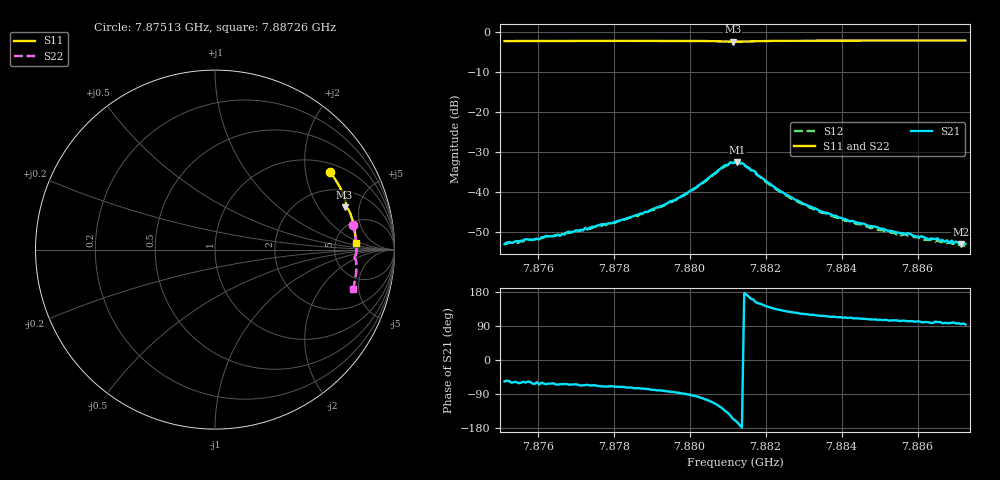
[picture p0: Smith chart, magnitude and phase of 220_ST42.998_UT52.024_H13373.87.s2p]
#  HZ  S  DB  R  50.00
! Rohde & Schwarz Vector Network Analyzer
! Rohde-Schwarz,ZNB20-2Port,1311601062101988,3.16
! Created: UTC 1/12/2023, 6:45:47 PM
! freq[Hz]  db:S11  ang:S11  db:S21  ang:S21  db:S12  ang:S12  db:S22  ang:S22
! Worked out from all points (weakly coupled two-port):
!   201 points, 7.87513 GHz to 7.88726 GHz, reference 50 ohm
!   highest |S21| = -32.45 dB at 7.88126 GHz (marker M1); lowest = -53.0 dB at 7.88714 GHz (marker M2)
!   lowest |S11| = -2.4 dB at 7.88113 GHz (marker M3), VSWR 7.31, Z = 159 + j177 ohm
!   |S11| at or under -10 dB: nowhere
!   |S22| runs from -2.3 to -1.9 dB; largest |S21 - S12| = 0.0019
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7.87513e9  -2.23 34.2  -52.96 -56.5  -52.83 -59.0  -2.16 10.3
7.877192e9  -2.20 28.5  -49.51 -66.8  -49.43 -70.4  -2.10 5.5
7.877252e9  -2.20 28.4  -48.87 -66.3  -49.09 -69.7  -2.10 5.4
7.877313e9  -2.19 28.2  -49.29 -65.5  -49.08 -70.3  -2.11 5.2
7.878041e9  -2.19 26.2  -47.39 -70.5  -47.63 -75.0  -2.09 3.5
7.879193e9  -2.18 23.0  -43.63 -79.9  -43.78 -83.8  -2.07 0.8
7.879861e9  -2.19 21.1  -40.52 -88.9  -40.75 -92.6  -2.07 -0.9
7.880892e9  -2.33 18.3  -33.49 -130.6  -33.74 -133.6  -2.22 -3.3
7.881134e9  -2.39 18.1  -32.65 -154.8  -32.67 -156.3  -2.27 -3.4
7.881195e9  -2.39 18.1  -32.55 -159.1  -32.61 -162.5  -2.28 -3.3
7.881256e9  -2.39 18.2  -32.45 -164.2  -32.63 -168.6  -2.28 -3.3
7.88168e9  -2.28 17.7  -34.54 159.5  -34.91 155.1  -2.18 -3.4
7.882469e9  -2.16 15.5  -40.11 129.7  -40.43 126.2  -2.04 -5.3
7.883257e9  -2.13 13.2  -43.91 119.5  -44.14 115.7  -2.00 -7.2
7.884106e9  -2.11 10.9  -46.71 112.1  -47.20 107.6  -1.98 -9.2
7.885259e9  -2.10 7.9  -49.62 103.5  -49.89 99.7  -1.96 -11.7
7.88629e9  -2.09 5.2  -51.77 99.5  -51.93 96.9  -1.94 -14.0
7.886532e9  -2.08 4.5  -51.49 99.8  -52.02 96.4  -1.94 -14.5
7.886836e9  -2.08 3.7  -52.59 97.0  -52.42 92.8  -1.95 -15.2
7.886896e9  -2.08 3.6  -52.07 98.3  -52.75 93.4  -1.94 -15.3
7.887139e9  -2.08 3.0  -53.02 94.7  -53.18 95.0  -1.93 -15.8
7.88726e9  -2.08 2.6  -52.81 93.7  -53.44 93.0  -1.94 -16.1
